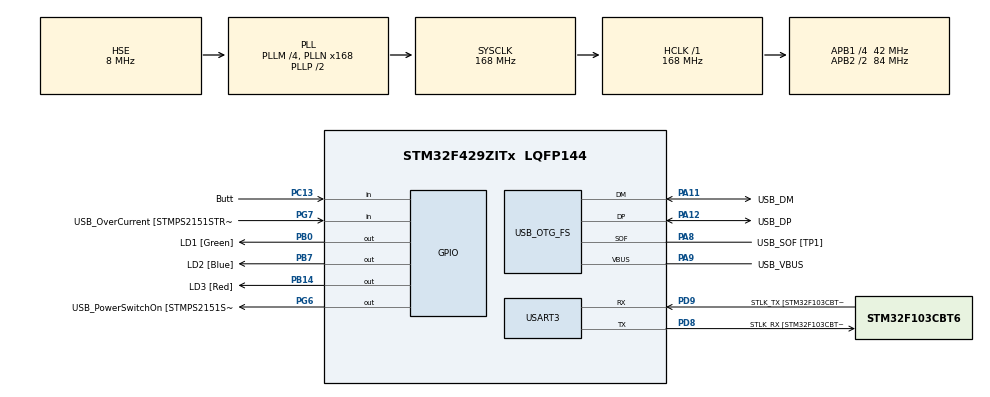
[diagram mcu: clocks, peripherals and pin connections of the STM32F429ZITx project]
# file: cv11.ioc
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Mcu.Family=STM32F4
Mcu.Name=STM32F429ZITx
Mcu.Package=LQFP144
NVIC.OTG_FS_IRQn=true\:0\:0\:false\:false\:true\:false\:true\:true
NVIC.PriorityGroup=NVIC_PRIORITYGROUP_4
PA1.GPIO_Label=RMII_REF_CLK [LAN8742A-CZ-TR_REFCLK0]
PA1.Signal=ETH_REF_CLK
PA10.GPIO_Label=USB_ID
PA10.Signal=USB_OTG_FS_ID
PA11.GPIO_Label=USB_DM
PA11.Mode=Device_Only
PA11.Signal=USB_OTG_FS_DM
PA12.GPIO_Label=USB_DP
PA12.Mode=Device_Only
PA12.Signal=USB_OTG_FS_DP
PA13.GPIO_Label=TMS
PA13.Mode=Serial_Wire
PA13.Signal=SYS_JTMS-SWDIO
PA14.GPIO_Label=TCK
PA14.Mode=Serial_Wire
PA14.Signal=SYS_JTCK-SWCLK
PA2.GPIO_Label=RMII_MDIO [LAN8742A-CZ-TR_MDIO]
PA2.Signal=ETH_MDIO
PA7.GPIO_Label=RMII_CRS_DV [LAN8742A-CZ-TR_CRS_DV]
PA7.Signal=ETH_CRS_DV
PA8.GPIO_Label=USB_SOF [TP1]
PA8.Mode=Activate_SOF_FS
PA8.Signal=USB_OTG_FS_SOF
PA9.GPIO_Label=USB_VBUS
PA9.Mode=Activate_VBUS
PA9.Signal=USB_OTG_FS_VBUS
PB0.GPIO_Label=LD1 [Green]
PB0.Signal=GPIO_Output
PB13.GPIO_Label=RMII_TXD1 [LAN8742A-CZ-TR_TXD1]
PB13.Signal=ETH_TXD1
PB14.GPIO_Label=LD3 [Red]
PB14.Signal=GPIO_Output
PB7.GPIO_Label=LD2 [Blue]
PB7.Signal=GPIO_Output
PC1.GPIO_Label=RMII_MDC [LAN8742A-CZ-TR_MDC]
PC1.Signal=ETH_MDC
PC13.GPIO_Label=Butt
PC13.GPIO_PuPd=GPIO_PULLDOWN
PC13.Signal=GPIO_Input
PC14/OSC32_IN.Mode=LSE-External-Oscillator
PC14/OSC32_IN.Signal=RCC_OSC32_IN
PC15/OSC32_OUT.Mode=LSE-External-Oscillator
PC15/OSC32_OUT.Signal=RCC_OSC32_OUT
PC4.GPIO_Label=RMII_RXD0 [LAN8742A-CZ-TR_RXD0]
PC4.Signal=ETH_RXD0
PC5.GPIO_Label=RMII_RXD1 [LAN8742A-CZ-TR_RXD1]
PC5.Signal=ETH_RXD1
PD8.GPIO_Label=STLK_RX [STM32F103CBT6_PA3]
PD8.Mode=Asynchronous
PD8.Signal=USART3_TX
PD9.GPIO_Label=STLK_TX [STM32F103CBT6_PA2]
PD9.Mode=Asynchronous
PD9.Signal=USART3_RX
PG11.GPIO_Label=RMII_TX_EN [LAN8742A-CZ-TR_TXEN]
PG11.Signal=ETH_TX_EN
PG13.GPIO_Label=RMII_TXD0 [LAN8742A-CZ-TR_TXD0]
PG13.Signal=ETH_TXD0
PG6.GPIO_Label=USB_PowerSwitchOn [STMPS2151STR_EN]
PG6.Signal=GPIO_Output
PG7.GPIO_Label=USB_OverCurrent [STMPS2151STR_FAULT]
PG7.Signal=GPIO_Input
PH0/OSC_IN.GPIO_Label=MCO [STM32F103CBT6_PA8]
PH0/OSC_IN.Mode=HSE-External-Clock-Source
PH0/OSC_IN.Signal=RCC_OSC_IN
PH1/OSC_OUT.Mode=HSE-External-Clock-Source
PH1/OSC_OUT.Signal=RCC_OSC_OUT
ProjectManager.HeapSize=0x200
ProjectManager.StackSize=0x400
ProjectManager.TargetToolchain=STM32CubeIDE
RCC.48MHZClocksFreq_Value=48000000
RCC.AHBFreq_Value=168000000
RCC.APB1CLKDivider=RCC_HCLK_DIV4
RCC.APB1Freq_Value=42000000
RCC.APB1TimFreq_Value=84000000
RCC.APB2CLKDivider=RCC_HCLK_DIV2
RCC.APB2Freq_Value=84000000
RCC.APB2TimCLKDivider=2
RCC.APB2TimFreq_Value=168000000
RCC.CortexFreq_Value=168000000
RCC.HCLKFreq_Value=168000000
RCC.HSE_VALUE=8000000
RCC.HSI_VALUE=16000000
RCC.PLLM=4
RCC.PLLMUL=RCC_PLL_MUL9
RCC.PLLN=168
RCC.PLLQ=7
RCC.PRESCALERUSB=RCC_USBCLKSOURCE_PLL_DIV1_5
RCC.SYSCLKFreq_VALUE=168000000
RCC.SYSCLKSource=RCC_SYSCLKSOURCE_PLLCLK
RCC.SYSCLKSourceVirtual=RCC_SYSCLKSOURCE_PLLCLK
RCC.USBFreq_Value=48000000
RCC.VCOOutputFreq_Value=336000000
USART3.VirtualMode=VM_ASYNC
USB_DEVICE.CLASS_NAME_FS=HID
USB_DEVICE.VirtualMode-HID_FS=Hid
USB_DEVICE.VirtualModeFS=Hid_FS
USB_OTG_FS.VirtualMode=Device_Only
VP_USB_DEVICE_VS_USB_DEVICE_HID_FS.Mode=HID_FS
board=NUCLEO-F429ZI

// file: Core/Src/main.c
/* USER CODE BEGIN Header */
/**
  ******************************************************************************
  * @file           : main.c
  * @brief          : Main program body
  ******************************************************************************
  * @attention
  *
  * Copyright (c) 2022 STMicroelectronics.
  * All rights reserved.
  *
  * This software is licensed under terms that can be found in the LICENSE file
  * in the root directory of this software component.
  * If no LICENSE file comes with this software, it is provided AS-IS.
  *
  ******************************************************************************
  */
/* USER CODE END Header */
#include "main.h"
#include "usb_device.h"

/* USER CODE BEGIN Includes */
#include "usbd_hid.h"
#include "math.h"
/* USER CODE END Includes */

/* USER CODE BEGIN PD */
#define STEPSIZE 100
/* USER CODE END PD */

UART_HandleTypeDef huart3;

/* USER CODE BEGIN PV */
extern USBD_HandleTypeDef hUsbDeviceFS;
/* USER CODE END PV */

void SystemClock_Config(void);
static void MX_GPIO_Init(void);
static void MX_USART3_UART_Init(void);
/* USER CODE BEGIN PFP */
void step(int x, int y, int btn);
void circle(int radius);
void smile(void);
/* USER CODE END PFP */

int main(void)
{

  /* MCU Configuration--------------------------------------------------------*/

  /* Reset of all peripherals, Initializes the Flash interface and the Systick. */
  HAL_Init();

  /* Configure the system clock */
  SystemClock_Config();

  /* Initialize all configured peripherals */
  MX_GPIO_Init();
  MX_USART3_UART_Init();
  MX_USB_DEVICE_Init();

  /* Infinite loop */
  /* USER CODE BEGIN WHILE */
  while (1)
  {
	  if(HAL_GPIO_ReadPin(Butt_GPIO_Port, Butt_Pin)){
		  circle(160);
		  step(0,0,0);
		  step(-50,-40,0);
		  circle(45);
		  step(0,0,0);
		  step(-100,0,0);
		  circle(45);
		  step(0,0,0);
		  step(0,100,0);
		  step(100,0,0);
		  step(0,0,1);
		  step(150,0,1);
		  step(0,0,0);
	  }else{
		  step(0,0,0);
	  }
    /* USER CODE END WHILE */

  }
}

void SystemClock_Config(void)
{
  RCC_OscInitTypeDef RCC_OscInitStruct = {0};
  RCC_ClkInitTypeDef RCC_ClkInitStruct = {0};

  /** Configure the main internal regulator output voltage
  */
  __HAL_RCC_PWR_CLK_ENABLE();
  __HAL_PWR_VOLTAGESCALING_CONFIG(PWR_REGULATOR_VOLTAGE_SCALE1);

  /** Initializes the RCC Oscillators according to the specified parameters
  * in the RCC_OscInitTypeDef structure.
  */
  RCC_OscInitStruct.OscillatorType = RCC_OSCILLATORTYPE_HSE;
  RCC_OscInitStruct.HSEState = RCC_HSE_BYPASS;
  RCC_OscInitStruct.PLL.PLLState = RCC_PLL_ON;
  RCC_OscInitStruct.PLL.PLLSource = RCC_PLLSOURCE_HSE;
  RCC_OscInitStruct.PLL.PLLM = 4;
  RCC_OscInitStruct.PLL.PLLN = 168;
  RCC_OscInitStruct.PLL.PLLP = RCC_PLLP_DIV2;
  RCC_OscInitStruct.PLL.PLLQ = 7;
  if (HAL_RCC_OscConfig(&RCC_OscInitStruct) != HAL_OK)
  {
    Error_Handler();
  }

  /** Initializes the CPU, AHB and APB buses clocks
  */
  RCC_ClkInitStruct.ClockType = RCC_CLOCKTYPE_HCLK|RCC_CLOCKTYPE_SYSCLK
                              |RCC_CLOCKTYPE_PCLK1|RCC_CLOCKTYPE_PCLK2;
  RCC_ClkInitStruct.SYSCLKSource = RCC_SYSCLKSOURCE_PLLCLK;
  RCC_ClkInitStruct.AHBCLKDivider = RCC_SYSCLK_DIV1;
  RCC_ClkInitStruct.APB1CLKDivider = RCC_HCLK_DIV4;
  RCC_ClkInitStruct.APB2CLKDivider = RCC_HCLK_DIV2;

  if (HAL_RCC_ClockConfig(&RCC_ClkInitStruct, FLASH_LATENCY_5) != HAL_OK)
  {
    Error_Handler();
  }
}

static void MX_USART3_UART_Init(void)
{

  huart3.Instance = USART3;
  huart3.Init.BaudRate = 115200;
  huart3.Init.WordLength = UART_WORDLENGTH_8B;
  huart3.Init.StopBits = UART_STOPBITS_1;
  huart3.Init.Parity = UART_PARITY_NONE;
  huart3.Init.Mode = UART_MODE_TX_RX;
  huart3.Init.HwFlowCtl = UART_HWCONTROL_NONE;
  huart3.Init.OverSampling = UART_OVERSAMPLING_16;
  if (HAL_UART_Init(&huart3) != HAL_OK)
  {
    Error_Handler();
  }

}

static void MX_GPIO_Init(void)
{
  GPIO_InitTypeDef GPIO_InitStruct = {0};

  /* GPIO Ports Clock Enable */
  __HAL_RCC_GPIOC_CLK_ENABLE();
  __HAL_RCC_GPIOH_CLK_ENABLE();
  __HAL_RCC_GPIOA_CLK_ENABLE();
  __HAL_RCC_GPIOB_CLK_ENABLE();
  __HAL_RCC_GPIOD_CLK_ENABLE();
  __HAL_RCC_GPIOG_CLK_ENABLE();

  /*Configure GPIO pin Output Level */
  HAL_GPIO_WritePin(GPIOB, LD1_Pin|LD3_Pin|LD2_Pin, GPIO_PIN_RESET);

  /*Configure GPIO pin Output Level */
  HAL_GPIO_WritePin(USB_PowerSwitchOn_GPIO_Port, USB_PowerSwitchOn_Pin, GPIO_PIN_RESET);

  /*Configure GPIO pin : Butt_Pin */
  GPIO_InitStruct.Pin = Butt_Pin;
  GPIO_InitStruct.Mode = GPIO_MODE_INPUT;
  GPIO_InitStruct.Pull = GPIO_PULLDOWN;
  HAL_GPIO_Init(Butt_GPIO_Port, &GPIO_InitStruct);

  /*Configure GPIO pins : RMII_MDC_Pin RMII_RXD0_Pin RMII_RXD1_Pin */
  GPIO_InitStruct.Pin = RMII_MDC_Pin|RMII_RXD0_Pin|RMII_RXD1_Pin;
  GPIO_InitStruct.Mode = GPIO_MODE_AF_PP;
  GPIO_InitStruct.Pull = GPIO_NOPULL;
  GPIO_InitStruct.Speed = GPIO_SPEED_FREQ_VERY_HIGH;
  GPIO_InitStruct.Alternate = GPIO_AF11_ETH;
  HAL_GPIO_Init(GPIOC, &GPIO_InitStruct);

  /*Configure GPIO pins : RMII_REF_CLK_Pin RMII_MDIO_Pin RMII_CRS_DV_Pin */
  GPIO_InitStruct.Pin = RMII_REF_CLK_Pin|RMII_MDIO_Pin|RMII_CRS_DV_Pin;
  GPIO_InitStruct.Mode = GPIO_MODE_AF_PP;
  GPIO_InitStruct.Pull = GPIO_NOPULL;
  GPIO_InitStruct.Speed = GPIO_SPEED_FREQ_VERY_HIGH;
  GPIO_InitStruct.Alternate = GPIO_AF11_ETH;
  HAL_GPIO_Init(GPIOA, &GPIO_InitStruct);

  /*Configure GPIO pins : LD1_Pin LD3_Pin LD2_Pin */
  GPIO_InitStruct.Pin = LD1_Pin|LD3_Pin|LD2_Pin;
  GPIO_InitStruct.Mode = GPIO_MODE_OUTPUT_PP;
  GPIO_InitStruct.Pull = GPIO_NOPULL;
  GPIO_InitStruct.Speed = GPIO_SPEED_FREQ_LOW;
  HAL_GPIO_Init(GPIOB, &GPIO_InitStruct);

  /*Configure GPIO pin : RMII_TXD1_Pin */
  GPIO_InitStruct.Pin = RMII_TXD1_Pin;
  GPIO_InitStruct.Mode = GPIO_MODE_AF_PP;
  GPIO_InitStruct.Pull = GPIO_NOPULL;
  GPIO_InitStruct.Speed = GPIO_SPEED_FREQ_VERY_HIGH;
  GPIO_InitStruct.Alternate = GPIO_AF11_ETH;
  HAL_GPIO_Init(RMII_TXD1_GPIO_Port, &GPIO_InitStruct);

  /*Configure GPIO pin : USB_PowerSwitchOn_Pin */
  GPIO_InitStruct.Pin = USB_PowerSwitchOn_Pin;
  GPIO_InitStruct.Mode = GPIO_MODE_OUTPUT_PP;
  GPIO_InitStruct.Pull = GPIO_NOPULL;
  GPIO_InitStruct.Speed = GPIO_SPEED_FREQ_LOW;
  HAL_GPIO_Init(USB_PowerSwitchOn_GPIO_Port, &GPIO_InitStruct);

  /*Configure GPIO pin : USB_OverCurrent_Pin */
  GPIO_InitStruct.Pin = USB_OverCurrent_Pin;
  GPIO_InitStruct.Mode = GPIO_MODE_INPUT;
  GPIO_InitStruct.Pull = GPIO_NOPULL;
  HAL_GPIO_Init(USB_OverCurrent_GPIO_Port, &GPIO_InitStruct);

  /*Configure GPIO pins : RMII_TX_EN_Pin RMII_TXD0_Pin */
  GPIO_InitStruct.Pin = RMII_TX_EN_Pin|RMII_TXD0_Pin;
  GPIO_InitStruct.Mode = GPIO_MODE_AF_PP;
  GPIO_InitStruct.Pull = GPIO_NOPULL;
  GPIO_InitStruct.Speed = GPIO_SPEED_FREQ_VERY_HIGH;
  GPIO_InitStruct.Alternate = GPIO_AF11_ETH;
  HAL_GPIO_Init(GPIOG, &GPIO_InitStruct);

}

/* USER CODE BEGIN 4 */
void step(int x, int y, int btn){
		  uint8_t buff[4];
		  buff[0] = btn; // stiskni leve tlacitko
		  buff[1] = (int8_t)(x); // posun X +10
		  buff[2] = (int8_t)(y); // posun Y -3
		  buff[3] = 0; // bez scrollu
		  USBD_HID_SendReport(&hUsbDeviceFS, buff, sizeof(buff));
		  HAL_Delay(USBD_HID_GetPollingInterval(&hUsbDeviceFS));
	  }

void circle(int radius){
	float angle = 0;
	float pi = 3.14159265359;
	float del_angle = 2*pi/STEPSIZE;
	uint8_t i = 1;
	float x = 0;
	float y = 0;
	float delx = 0;
	float dely = 0;
	float sx = radius*cos(angle);
	float sy = radius*sin(angle);

	step((int)delx,(int)dely,1);
	for(i=0; i<=STEPSIZE+1;i++){
		angle = i*del_angle;
		x = (float)radius*cos(angle);
		y = (float)radius*sin(angle);
		delx = x-sx;
		dely = y-sy;
		step((int)delx,(int)dely,1);
		sx = x;
		sy = y;
	}
}

/* USER CODE END 4 */

void Error_Handler(void)
{
  __disable_irq();
  while (1)
  {
  }
}
